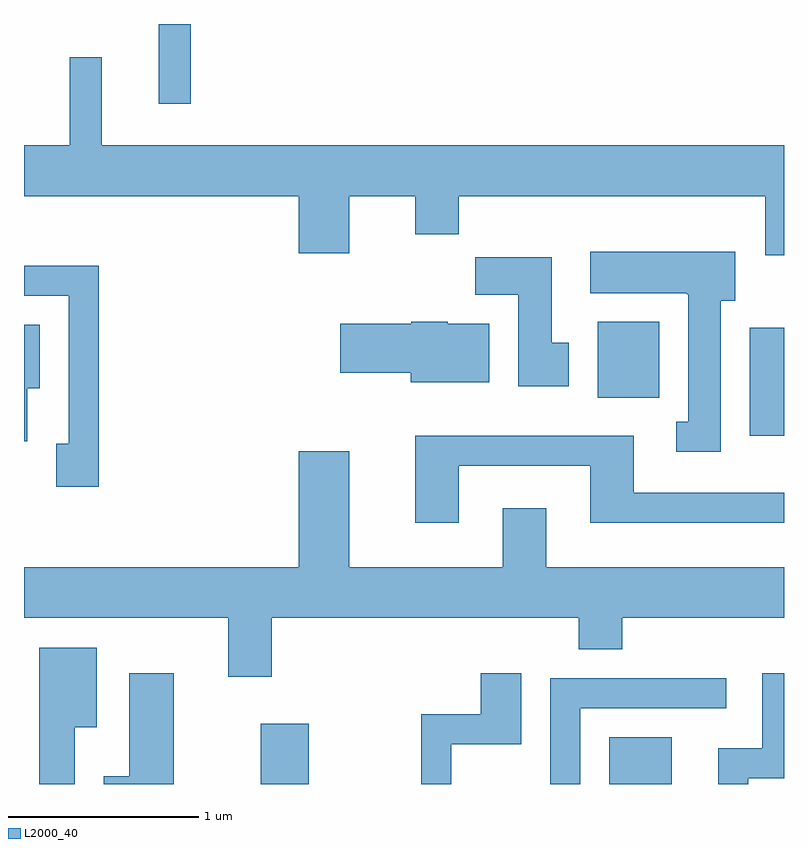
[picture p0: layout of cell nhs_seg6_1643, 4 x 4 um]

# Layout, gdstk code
import gdstk
lib = gdstk.Library(unit=1e-6, precision=1e-09)
def R(c, l, rs):  # rectangles x0, y0, x1, y1
    for r in rs: c.add(gdstk.rectangle(r[:2], r[2:], *l))
def P(c, l, *ps):  # polygons
    for p in ps: c.add(gdstk.Polygon(p, *l))
L2000_40 = (2000, 40)

nhs_seg6_1643 = lib.new_cell('nhs_seg6_1643')
R(nhs_seg6_1643, L2000_40, [(234.856,1660.162,235.109,1660.479), (236.691,1660.162,237.019,1660.409), (237.431,1661.996,237.611,1662.564), (236.631,1662.196,236.954,1662.594), (234.321,1663.743,234.489,1664.162)])
P(nhs_seg6_1643, L2000_40, [(237.611,1663.524),(234.019,1663.524),(234.019,1663.988),(233.851,1663.988),(233.851,1663.524),(233.611,1663.524),(233.611,1663.256),(235.056,1663.256),(235.056,1662.956),(235.324,1662.956),(235.324,1663.256),(235.671,1663.256),(235.671,1663.056),(235.899,1663.056),(235.899,1663.256),(237.511,1663.256),(237.511,1662.946),(237.611,1662.946)],
  [(237.279,1662.706),(237.354,1662.706),(237.354,1662.964),(236.591,1662.964),(236.591,1662.746),(237.1,1662.746),(237.1,1662.74),(237.106,1662.74),(237.106,1662.069),(237.043,1662.069),(237.043,1661.911),(237.279,1661.911)],
  [(236.479,1662.484),(236.389,1662.484),(236.389,1662.934),(235.986,1662.934),(235.986,1662.736),(236.211,1662.736),(236.211,1662.256),(236.479,1662.256)],
  [(234.004,1662.889),(233.611,1662.889),(233.611,1662.731),(233.846,1662.731),(233.846,1661.954),(233.781,1661.954),(233.781,1661.726),(234.004,1661.726)],
  [(236.059,1662.584),(235.84,1662.584),(235.84,1662.594),(235.65,1662.594),(235.65,1662.584),(235.276,1662.584),(235.276,1662.326),(235.646,1662.326),(235.646,1662.276),(236.059,1662.276)],
  [(233.629,1662.246),(233.694,1662.246),(233.694,1662.579),(233.611,1662.579),(233.611,1661.966),(233.629,1661.966)],
  [(235.899,1661.836),(236.591,1661.836),(236.591,1661.536),(237.611,1661.536),(237.611,1661.694),(236.819,1661.694),(236.819,1661.994),(235.671,1661.994),(235.671,1661.536),(235.899,1661.536)],
  [(234.914,1661.036),(236.531,1661.036),(236.531,1660.871),(236.759,1660.871),(236.759,1661.036),(237.611,1661.036),(237.611,1661.304),(236.359,1661.304),(236.359,1661.614),(236.131,1661.614),(236.131,1661.304),(235.324,1661.304),(235.324,1661.914),(235.056,1661.914),(235.056,1661.304),(233.611,1661.304),(233.611,1661.036),(234.686,1661.036),(234.686,1660.726),(234.914,1660.726)],
  [(233.879,1660.461),(233.994,1660.461),(233.994,1660.879),(233.691,1660.879),(233.691,1660.162),(233.879,1660.162)],
  [(237.424,1660.191),(237.611,1660.191),(237.611,1660.744),(237.496,1660.744),(237.496,1660.349),(237.266,1660.349),(237.266,1660.162),(237.424,1660.162)],
  [(234.399,1660.744),(234.166,1660.744),(234.166,1660.204),(234.031,1660.204),(234.031,1660.162),(234.399,1660.162)],
  [(235.859,1660.371),(236.229,1660.371),(236.229,1660.744),(236.016,1660.744),(236.016,1660.529),(235.701,1660.529),(235.701,1660.162),(235.859,1660.162)],
  [(236.539,1660.561),(237.308,1660.561),(237.308,1660.719),(236.381,1660.719),(236.381,1660.162),(236.539,1660.162)])

lib.write_gds('nhs_seg6_1643.gds')
